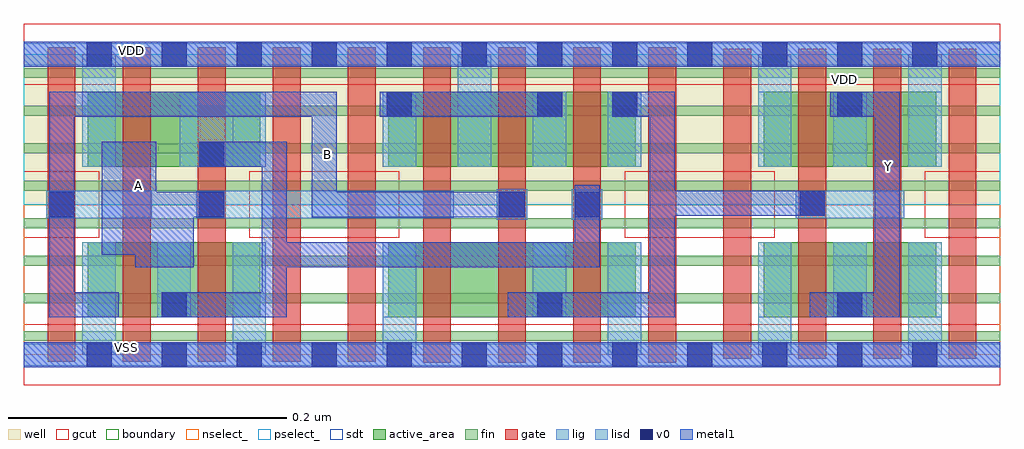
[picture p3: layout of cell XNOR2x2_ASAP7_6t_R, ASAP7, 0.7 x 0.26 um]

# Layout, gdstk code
import gdstk
lib = gdstk.Library(unit=1e-6, precision=2.5e-10)
def R(c, l, rs):  # rectangles x0, y0, x1, y1
    for r in rs: c.add(gdstk.rectangle(r[:2], r[2:], *l))
def A(c, l, x, y, w, h, nx, ny, dx, dy):  # array of equal rectangles
    R(c, l, [(x+i*dx, y+j*dy, x+i*dx+w, y+j*dy+h) for i in range(nx) for j in range(ny)])
def P(c, l, *ps):  # polygons
    for p in ps: c.add(gdstk.Polygon(p, *l))
well = (1, 0)
fin = (2, 0)
gate = (7, 0)
gcut = (10, 0)
active_area = (11, 0)
nselect_ = (12, 0)
pselect_ = (13, 0)
lig = (16, 0)
lisd = (17, 0)
v0 = (18, 0)
metal1 = (19, 0)
sdt = (88, 0)
boundary = (100, 0)

xnor2x2_asap7_6t_r = lib.new_cell('XNOR2x2_ASAP7_6t_R')
R(xnor2x2_asap7_6t_r, well, [(0,0.108,0.702,0.216)])
A(xnor2x2_asap7_6t_r, fin, 0, 0.01, 0.702, 0.007, 1, 8, 0, 0.027)
A(xnor2x2_asap7_6t_r, gate, 0.287, -0.006, 0.02, 0.227, 4, 1, 0.054, 0)
A(xnor2x2_asap7_6t_r, gate, 0.017, -0.005, 0.02, 0.226, 5, 1, 0.054, 0)
A(xnor2x2_asap7_6t_r, gate, 0.503, -0.003, 0.02, 0.223, 4, 1, 0.054, 0)
R(xnor2x2_asap7_6t_r, gcut, [(0,-0.022,0.702,0.022), (0,0.084,0.054,0.132), (0.162,0.084,0.27,0.132), (0.432,0.084,0.54,0.132), (0.648,0.084,0.702,0.132), (0,0.194,0.702,0.238)])
R(xnor2x2_asap7_6t_r, active_area, [(0.046,0.027,0.17,0.081), (0.262,0.027,0.44,0.081), (0.532,0.027,0.656,0.081), (0.046,0.135,0.17,0.189), (0.262,0.135,0.44,0.189), (0.532,0.135,0.656,0.189)])
R(xnor2x2_asap7_6t_r, nselect_, [(0,0,0.702,0.108)])
R(xnor2x2_asap7_6t_r, pselect_, [(0,0.108,0.702,0.216)])
R(xnor2x2_asap7_6t_r, lig, [(0,-0.008,0.702,0.008), (0.34,0.097,0.362,0.119), (0.394,0.097,0.416,0.119), (0.016,0.098,0.092,0.118), (0.124,0.098,0.309,0.118), (0.555,0.098,0.633,0.118), (0,0.208,0.702,0.224)])
A(xnor2x2_asap7_6t_r, lisd, 0.042, 0, 0.024, 0.081, 3, 1, 0.108, 0)
A(xnor2x2_asap7_6t_r, lisd, 0.42, 0, 0.024, 0.081, 3, 1, 0.108, 0)
R(xnor2x2_asap7_6t_r, lisd, [(0.096,0.027,0.12,0.081), (0.366,0.027,0.39,0.081), (0.582,0.027,0.606,0.081), (0.042,0.135,0.066,0.216), (0.112,0.135,0.174,0.189), (0.258,0.135,0.282,0.189), (0.312,0.135,0.336,0.216), (0.366,0.135,0.39,0.189), (0.42,0.135,0.444,0.189), (0.528,0.135,0.552,0.216), (0.582,0.135,0.606,0.189), (0.636,0.135,0.66,0.216)])
A(xnor2x2_asap7_6t_r, v0, 0.045, -0.009, 0.018, 0.018, 12, 2, 0.054, 0.216)
R(xnor2x2_asap7_6t_r, v0, [(0.099,0.027,0.117,0.045), (0.369,0.027,0.387,0.045), (0.585,0.027,0.603,0.045), (0.018,0.099,0.036,0.117), (0.126,0.099,0.144,0.117), (0.342,0.099,0.36,0.117), (0.396,0.099,0.414,0.117), (0.558,0.1,0.576,0.118), (0.126,0.135,0.144,0.153), (0.261,0.171,0.279,0.189), (0.369,0.171,0.387,0.189), (0.423,0.171,0.441,0.189), (0.585,0.171,0.603,0.189)])
R(xnor2x2_asap7_6t_r, metal1, [(0,-0.009,0.702,0.009), (0.256,0.171,0.387,0.189), (0,0.207,0.702,0.225)])
P(xnor2x2_asap7_6t_r, metal1, [(0.63,0.189),(0.58,0.189),(0.58,0.171),(0.612,0.171),(0.612,0.045),(0.565,0.045),(0.565,0.027),(0.63,0.027)],
  [(0.576,0.118),(0.468,0.118),(0.468,0.189),(0.423,0.189),(0.423,0.171),(0.45,0.171),(0.45,0.045),(0.348,0.045),(0.348,0.027),(0.468,0.027),(0.468,0.1),(0.576,0.1)],
  [(0.414,0.122),(0.396,0.122),(0.396,0.081),(0.189,0.081),(0.189,0.153),(0.126,0.153),(0.126,0.135),(0.171,0.135),(0.171,0.045),(0.099,0.045),(0.099,0.027),(0.189,0.027),(0.189,0.063),(0.414,0.063)],
  [(0.36,0.117),(0.225,0.117),(0.225,0.189),(0.018,0.189),(0.018,0.027),(0.068,0.027),(0.068,0.045),(0.036,0.045),(0.036,0.171),(0.207,0.171),(0.207,0.099),(0.36,0.099)],
  [(0.144,0.117),(0.095,0.117),(0.095,0.153),(0.056,0.153),(0.056,0.072),(0.08,0.072),(0.08,0.063),(0.122,0.063),(0.122,0.099),(0.144,0.099)])
A(xnor2x2_asap7_6t_r, sdt, 0.042, 0.027, 0.024, 0.054, 3, 1, 0.054, 0)
A(xnor2x2_asap7_6t_r, sdt, 0.528, 0.027, 0.024, 0.054, 3, 2, 0.054, 0.108)
A(xnor2x2_asap7_6t_r, sdt, 0.042, 0.135, 0.024, 0.054, 3, 1, 0.108, 0)
A(xnor2x2_asap7_6t_r, sdt, 0.312, 0.135, 0.024, 0.054, 3, 1, 0.054, 0)
R(xnor2x2_asap7_6t_r, sdt, [(0.258,0.027,0.282,0.081), (0.366,0.027,0.39,0.081), (0.42,0.027,0.444,0.081)])
R(xnor2x2_asap7_6t_r, boundary, [(0,0,0.702,0.216)])
xnor2x2_asap7_6t_r.add(gdstk.Label('A', (0.082,0.122), layer=19, texttype=251))
xnor2x2_asap7_6t_r.add(gdstk.Label('VDD', (0.077,0.219), layer=19, texttype=251))
xnor2x2_asap7_6t_r.add(gdstk.Label('VSS', (0.074,0.005), layer=19, texttype=251))
xnor2x2_asap7_6t_r.add(gdstk.Label('B', (0.218,0.144), layer=19, texttype=251))
xnor2x2_asap7_6t_r.add(gdstk.Label('Y', (0.622,0.135), layer=19, texttype=251))
xnor2x2_asap7_6t_r.add(gdstk.Label('VDD', (0.59,0.198), layer=1, texttype=251))
xnor2x2_asap7_6t_r.add(gdstk.Label('VSS', (0.434,-0.046), layer=3, texttype=251))

lib.write_gds('XNOR2x2_ASAP7_6t_R.gds')
